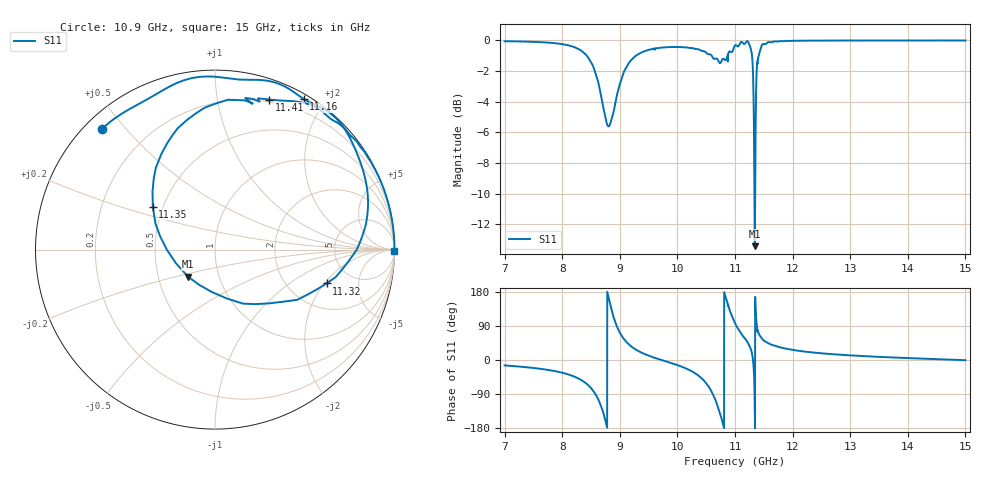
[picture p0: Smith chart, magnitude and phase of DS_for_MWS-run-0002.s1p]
! TOUCHSTONE file generated by CST DESIGN STUDIO
! Date and time: Mon Feb 10 16:46:51 2025
! Project name: C:\Work\MatlabApps\UnitCellType2OptimizationMatlab\CST\unitcell.cst
! Tree item: Tasks\Sweep1\SPara1\S-Parameters
! Header version: 2024
! Port assignment regex: !\s*Touchstone port\s*([0-9]+)\s*=\s*(CST MWS port|CST DES external port|CST DES block port)\s*(.+)\s* \(\"(.*)\"\)(\s*mode\s*([0-9]+))?.*
! Touchstone port assignment:
! Touchstone port 1 = CST DES external port 1 ("")
# GHz S MA R 50
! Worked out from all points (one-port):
!   4001 points, 7 GHz to 15 GHz, reference 50 ohm
!   lowest |S11| = -13.4 dB at 11.34 GHz (marker M1), VSWR 1.54, Z = 35.5 - j11.2 ohm
!   |S11| at or under -10 dB: 11.33674 GHz to 11.3501 GHz (13.36 MHz wide, 0.118 % of centre)
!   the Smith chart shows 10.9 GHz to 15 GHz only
!   S11 on the Smith chart (normalised r, x): 10.9 GHz: 0.05, +0.43; 11.16 GHz: 0.05, +1.75; 11.32 GHz: 3.23, -2.11; 11.35 GHz: 0.44, +0.26; 11.41 GHz: 0.18, +1.41; 15 GHz: open
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7  0.994 -14.3
8  0.9729 -33.6
8.348  0.9201 -54.5
8.584  0.7747 -91.9
8.68  0.6498 -124.2
8.784  0.5295 178.8
8.892  0.5857 112.9
9  0.7192 72.2
9.328  0.9031 23.2
10  0.9517 -13.4
10.4  0.9285 -45.6
10.636  0.8708 -96.7
10.712  0.8574 -128.5
10.79  0.8714 -168.0
10.904  0.921 133.1
11  0.9644 97.6
11.158  0.9735 59.5
11.278  0.9329 27.4
11.322  0.6495 -16.9
11.344  0.2128 -134.9
11.354  0.4215 145.3
11.378  0.8111 90.3
11.41  0.8886 70.2
11.576  0.9869 44.4
12  0.9976 26.7
13  0.9994 12.2
14  0.9999 5.1
15  0.9996 -0.5
